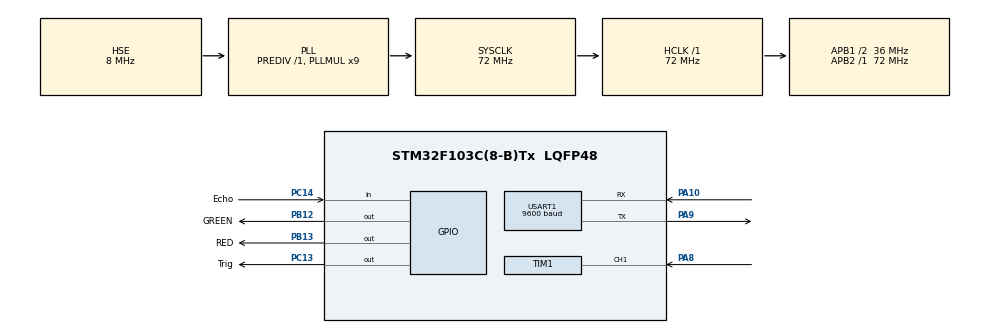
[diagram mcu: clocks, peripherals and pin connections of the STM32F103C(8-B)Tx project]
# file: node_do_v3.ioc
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Mcu.Family=STM32F1
Mcu.Name=STM32F103C(8-B)Tx
Mcu.Package=LQFP48
NVIC.PriorityGroup=NVIC_PRIORITYGROUP_4
NVIC.TIM1_CC_IRQn=true\:0\:0\:false\:false\:true\:true\:true\:true
NVIC.USART1_IRQn=true\:1\:0\:true\:false\:true\:true\:true\:true
PA10.Mode=Asynchronous
PA10.Signal=USART1_RX
PA13.Mode=Serial_Wire
PA13.Signal=SYS_JTMS-SWDIO
PA14.Mode=Serial_Wire
PA14.Signal=SYS_JTCK-SWCLK
PA8.Signal=S_TIM1_CH1
PA9.Mode=Asynchronous
PA9.Signal=USART1_TX
PB12.GPIO_Label=GREEN
PB12.Signal=GPIO_Output
PB13.GPIO_Label=RED
PB13.Signal=GPIO_Output
PC13-TAMPER-RTC.GPIO_Label=Trig
PC13-TAMPER-RTC.Signal=GPIO_Output
PC14-OSC32_IN.GPIO_Label=Echo
PC14-OSC32_IN.Signal=GPIO_Input
PD0-OSC_IN.Mode=HSE-External-Oscillator
PD0-OSC_IN.Signal=RCC_OSC_IN
PD1-OSC_OUT.Mode=HSE-External-Oscillator
PD1-OSC_OUT.Signal=RCC_OSC_OUT
ProjectManager.HeapSize=0x200
ProjectManager.StackSize=0x400
ProjectManager.TargetToolchain=STM32CubeIDE
RCC.AHBFreq_Value=72000000
RCC.APB1CLKDivider=RCC_HCLK_DIV2
RCC.APB1Freq_Value=36000000
RCC.APB1TimFreq_Value=72000000
RCC.APB2Freq_Value=72000000
RCC.APB2TimFreq_Value=72000000
RCC.HCLKFreq_Value=72000000
RCC.PLLMUL=RCC_PLL_MUL9
RCC.PLLSourceVirtual=RCC_PLLSOURCE_HSE
RCC.SYSCLKFreq_VALUE=72000000
RCC.SYSCLKSource=RCC_SYSCLKSOURCE_PLLCLK
RCC.USBFreq_Value=72000000
SH.S_TIM1_CH1.0=TIM1_CH1,Input_Capture1_from_TI1
TIM1.Channel-Input_Capture1_from_TI1=TIM_CHANNEL_1
TIM3.Period=0
TIM3.Prescaler=71
USART1.BaudRate=9600
USART1.VirtualMode=VM_ASYNC
VP_TIM3_VS_ClockSourceINT.Mode=Internal
board=custom

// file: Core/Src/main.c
/* USER CODE BEGIN Header */
/**
  ******************************************************************************
  * @file           : main.c
  * @brief          : Main program body
  ******************************************************************************
  * @attention
  *
  * Copyright (c) 2024 STMicroelectronics.
  * All rights reserved.
  *
  * This software is licensed under terms that can be found in the LICENSE file
  * in the root directory of this software component.
  * If no LICENSE file comes with this software, it is provided AS-IS.
  *
  ******************************************************************************
  */
/* USER CODE END Header */
#include "main.h"
#include "tim.h"
#include "usart.h"
#include "gpio.h"

/* USER CODE BEGIN Includes */

#include "string.h"
/* USER CODE END Includes */

/* USER CODE BEGIN PV */
const float speedOfSound =0.0343 /2 ; // cm /us
float distance;
uint8_t myID = 0x02; //0x01 0x02
uint8_t isCar=0;
uint8_t txBuffer[5];
uint8_t rxBuffer[5];

uint32_t numTicks;
/* USER CODE END PV */

void SystemClock_Config(void);
/* USER CODE BEGIN PFP */
void usDelay(uint32_t uSec);
/* USER CODE END PFP */

/* USER CODE BEGIN 0 */

void HAL_UART_RxCpltCallback(UART_HandleTypeDef *huart) {
    if (huart->Instance == USART1)
    {
        if (rxBuffer[0] == myID)
        { // Kiểm tra địa chỉ
        	HAL_GPIO_WritePin(Trig_GPIO_Port, Trig_Pin, RESET);
        	usDelay(3);

			/*** Start Ultralsonic Measure Routine ***/
			HAL_GPIO_WritePin(Trig_GPIO_Port, Trig_Pin, SET);
			usDelay(10);
			HAL_GPIO_WritePin(Trig_GPIO_Port, Trig_Pin, RESET);

			while(HAL_GPIO_ReadPin(Echo_GPIO_Port, Echo_Pin) == GPIO_PIN_RESET);

			numTicks =0;
			while(HAL_GPIO_ReadPin(Echo_GPIO_Port, Echo_Pin) == GPIO_PIN_SET)
			{
				numTicks++;
				usDelay(2); // 2.8 us
			};

			distance = (numTicks +0.0f)*4.2*speedOfSound;
			if(distance < 5){
				isCar =1;
			}else{
				isCar =0;
			}
		   txBuffer[0] = myID;
		   txBuffer[1] = isCar;

		   HAL_UART_Transmit(&huart1, txBuffer, 5, HAL_MAX_DELAY);
        }

		//HAL_UART_Transmit(&huart1, txBuffer, 5, HAL_MAX_DELAY);
    }
    // Tiếp tục nhận
    HAL_UART_Receive_IT(&huart1, rxBuffer, 5);
}

/* USER CODE END 0 */

int main(void)
{

  /* MCU Configuration--------------------------------------------------------*/

  /* Reset of all peripherals, Initializes the Flash interface and the Systick. */
  HAL_Init();

  /* Configure the system clock */
  SystemClock_Config();

  /* Initialize all configured peripherals */
  MX_GPIO_Init();
  MX_TIM3_Init();
  MX_USART1_UART_Init();
  MX_TIM1_Init();
  /* USER CODE BEGIN 2 */
  HAL_UART_Receive_IT(&huart1, rxBuffer, 5);
  /* USER CODE END 2 */

  /* Infinite loop */
  /* USER CODE BEGIN WHILE */
  while (1)
  {
	  if(isCar ==1){
	  		HAL_GPIO_WritePin(GPIOB, GPIO_PIN_12, 0);
	  		HAL_GPIO_WritePin(GPIOB, GPIO_PIN_13, 1);
	  	} else
	  	{
	  		HAL_GPIO_WritePin(GPIOB, GPIO_PIN_12, 1);
	  		HAL_GPIO_WritePin(GPIOB, GPIO_PIN_13, 0);
	  	}

		HAL_Delay(2000);

    /* USER CODE END WHILE */

  }
}

void SystemClock_Config(void)
{
  RCC_OscInitTypeDef RCC_OscInitStruct = {0};
  RCC_ClkInitTypeDef RCC_ClkInitStruct = {0};

  /** Initializes the RCC Oscillators according to the specified parameters
  * in the RCC_OscInitTypeDef structure.
  */
  RCC_OscInitStruct.OscillatorType = RCC_OSCILLATORTYPE_HSE;
  RCC_OscInitStruct.HSEState = RCC_HSE_ON;
  RCC_OscInitStruct.HSEPredivValue = RCC_HSE_PREDIV_DIV1;
  RCC_OscInitStruct.HSIState = RCC_HSI_ON;
  RCC_OscInitStruct.PLL.PLLState = RCC_PLL_ON;
  RCC_OscInitStruct.PLL.PLLSource = RCC_PLLSOURCE_HSE;
  RCC_OscInitStruct.PLL.PLLMUL = RCC_PLL_MUL9;
  if (HAL_RCC_OscConfig(&RCC_OscInitStruct) != HAL_OK)
  {
    Error_Handler();
  }

  /** Initializes the CPU, AHB and APB buses clocks
  */
  RCC_ClkInitStruct.ClockType = RCC_CLOCKTYPE_HCLK|RCC_CLOCKTYPE_SYSCLK
                              |RCC_CLOCKTYPE_PCLK1|RCC_CLOCKTYPE_PCLK2;
  RCC_ClkInitStruct.SYSCLKSource = RCC_SYSCLKSOURCE_PLLCLK;
  RCC_ClkInitStruct.AHBCLKDivider = RCC_SYSCLK_DIV1;
  RCC_ClkInitStruct.APB1CLKDivider = RCC_HCLK_DIV2;
  RCC_ClkInitStruct.APB2CLKDivider = RCC_HCLK_DIV1;

  if (HAL_RCC_ClockConfig(&RCC_ClkInitStruct, FLASH_LATENCY_2) != HAL_OK)
  {
    Error_Handler();
  }
}

/* USER CODE BEGIN 4 */
void usDelay(uint32_t uSec)
{
	if(uSec <2 )
		uSec = 2;
	TIM3->ARR = uSec -1; // Auto-Reload Register, set Value to reset timer
	TIM3->EGR = 1; // Event Generation Register, nap lap tuc ARR vao bo dem
	TIM3->SR &= ~1; // Status Register, clear flag
	TIM3->CR1 |= 1; // Control Register, Turn on timer 3
	while((TIM3->SR&0x0001) != 1);
	TIM3->SR &= ~(0x0001); // Delete Status flag
}
/* USER CODE END 4 */

void Error_Handler(void)
{
  __disable_irq();
  while (1)
  {
  }
}
